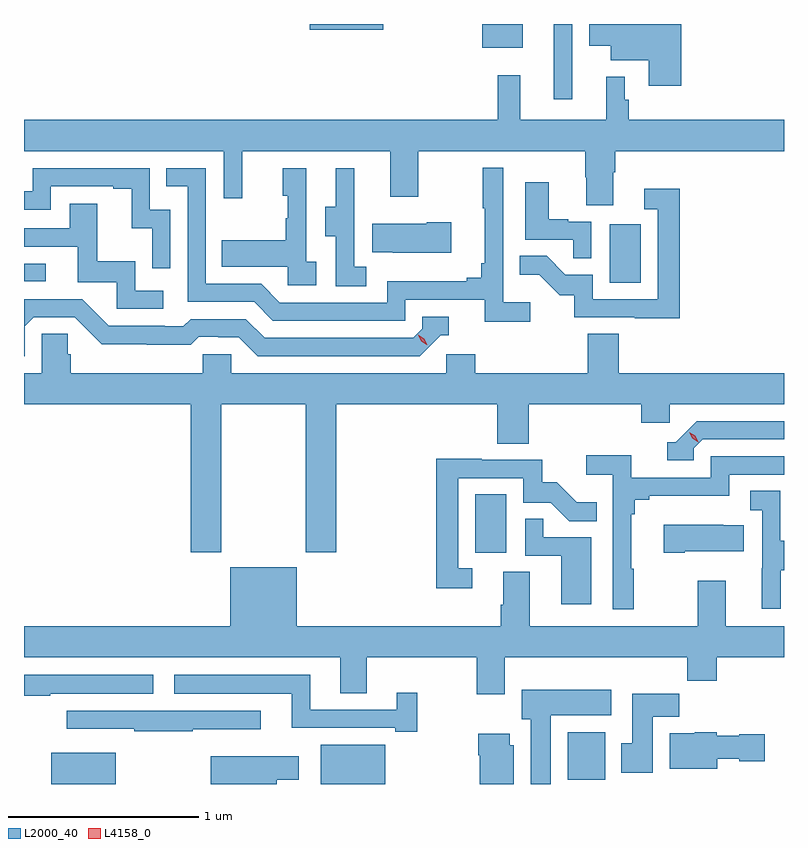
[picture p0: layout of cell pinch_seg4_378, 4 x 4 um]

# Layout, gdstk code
import gdstk
lib = gdstk.Library(unit=1e-6, precision=1e-09)
def R(c, l, rs):  # rectangles x0, y0, x1, y1
    for r in rs: c.add(gdstk.rectangle(r[:2], r[2:], *l))
def P(c, l, *ps):  # polygons
    for p in ps: c.add(gdstk.Polygon(p, *l))
L2000_40 = (2000, 40)
L4158_0 = (4158, 0)

pinch_seg4_378 = lib.new_cell('pinch_seg4_378')
R(pinch_seg4_378, L2000_40, [(999.362,776.173,999.703,776.338), (1000.781,776.173,1001.119,776.38), (1002.081,776.196,1002.277,776.446), (1001.594,777.39,1001.758,777.697), (1002.302,778.812,1002.466,779.119), (999.219,778.818,999.334,778.911), (1002.008,779.778,1002.105,780.173), (1001.63,780.047,1001.845,780.173), (1000.722,780.142,1001.11,780.173)])
P(pinch_seg4_378, L2000_40, [(1002.677,780.173),(1002.194,780.173),(1002.194,780.059),(1002.308,780.059),(1002.308,779.981),(1002.506,779.981),(1002.506,779.847),(1002.677,779.847)],
  [(1002.319,779.392),(1002.332,779.392),(1002.332,779.504),(1003.219,779.504),(1003.219,779.668),(1002.401,779.668),(1002.401,779.775),(1002.381,779.775),(1002.381,779.896),(1002.284,779.896),(1002.284,779.668),(1001.831,779.668),(1001.831,779.902),(1001.713,779.902),(1001.713,779.668),(999.219,779.668),(999.219,779.504),(1000.269,779.504),(1000.269,779.256),(1000.367,779.256),(1000.367,779.504),(1001.147,779.504),(1001.147,779.265),(1001.295,779.265),(1001.295,779.504),(1002.172,779.504),(1002.172,779.367),(1002.179,779.367),(1002.179,779.218),(1002.319,779.218)],
  [(1001.884,778.708),(1001.742,778.708),(1001.742,779.416),(1001.634,779.416),(1001.634,779.203),(1001.645,779.203),(1001.645,778.915),(1001.626,778.915),(1001.626,778.838),(1001.549,778.838),(1001.549,778.819),(1001.13,778.819),(1001.13,778.707),(1000.566,778.707),(1000.467,778.806),(1000.176,778.806),(1000.176,779.415),(999.967,779.415),(999.967,779.319),(1000.08,779.319),(1000.08,778.71),(1000.43,778.71),(1000.529,778.611),(1001.226,778.611),(1001.226,778.722),(1001.645,778.722),(1001.645,778.606),(1001.884,778.606)],
  [(999.99,779.196),(999.882,779.196),(999.882,779.415),(999.264,779.415),(999.264,779.292),(999.219,779.292),(999.219,779.196),(999.36,779.196),(999.36,779.319),(999.689,779.319),(999.689,779.307),(999.785,779.307),(999.785,779.099),(999.894,779.099),(999.894,778.887),(999.99,778.887)],
  [(1000.756,778.922),(1000.704,778.922),(1000.704,779.413),(1000.58,779.413),(1000.58,779.268),(1000.606,779.268),(1000.606,779.15),(1000.596,779.15),(1000.596,779.035),(1000.261,779.035),(1000.261,778.895),(1000.608,778.895),(1000.608,778.797),(1000.756,778.797)],
  [(1001.02,778.895),(1000.956,778.895),(1000.956,779.199),(1000.958,779.199),(1000.958,779.413),(1000.859,779.413),(1000.859,779.211),(1000.805,779.211),(1000.805,779.056),(1000.86,779.056),(1000.86,778.792),(1001.02,778.792)],
  [(1002.204,779.133),(1002.083,779.133),(1002.083,779.146),(1001.98,779.146),(1001.98,779.341),(1001.858,779.341),(1001.858,779.037),(1002.109,779.037),(1002.109,778.939),(1002.204,778.939)],
  [(1002.671,779.305),(1002.483,779.305),(1002.483,779.199),(1002.555,779.199),(1002.555,778.725),(1002.213,778.725),(1002.213,778.854),(1002.068,778.854),(1001.97,778.952),(1001.827,778.952),(1001.827,778.853),(1001.931,778.853),(1002.038,778.746),(1002.115,778.746),(1002.115,778.629),(1002.433,778.629),(1002.433,778.624),(1002.671,778.624)],
  [(999.952,778.77),(999.804,778.77),(999.804,778.924),(999.605,778.924),(999.605,779.227),(999.461,779.227),(999.461,779.097),(999.219,779.097),(999.219,779.001),(999.503,779.001),(999.503,778.815),(999.708,778.815),(999.708,778.674),(999.952,778.674)],
  [(1001.467,779.13),(1001.339,779.13),(1001.339,779.122),(1001.053,779.122),(1001.053,778.973),(1001.161,778.973),(1001.161,778.97),(1001.467,778.97)],
  [(999.222,778.581),(999.27,778.629),(999.486,778.629),(999.628,778.487),(999.864,778.487),(999.864,778.485),(1000.097,778.485),(1000.139,778.527),(1000.242,778.527),(1000.242,778.524),(1000.349,778.524),(1000.448,778.425),(1001.301,778.425),(1001.412,778.536),(1001.455,778.536),(1001.455,778.632),(1001.316,778.632),(1001.316,778.569),(1001.268,778.521),(1000.485,778.521),(1000.386,778.62),(1000.097,778.62),(1000.058,778.581),(999.959,778.581),(999.959,778.584),(999.666,778.584),(999.525,778.725),(999.219,778.725),(999.219,778.425),(999.222,778.425)],
  [(1000.257,778.172),(1000.702,778.172),(1000.702,777.393),(1000.862,777.393),(1000.862,778.172),(1001.711,778.172),(1001.711,777.964),(1001.876,777.964),(1001.876,778.172),(1002.467,778.172),(1002.467,778.074),(1002.618,778.074),(1002.618,778.172),(1003.219,778.172),(1003.219,778.336),(1002.35,778.336),(1002.35,778.544),(1002.185,778.544),(1002.185,778.336),(1001.594,778.336),(1001.594,778.434),(1001.442,778.434),(1001.442,778.336),(1000.311,778.336),(1000.311,778.434),(1000.161,778.434),(1000.161,778.336),(999.464,778.336),(999.464,778.434),(999.449,778.434),(999.449,778.544),(999.312,778.544),(999.312,778.336),(999.219,778.336),(999.219,778.172),(1000.097,778.172),(1000.097,777.393),(1000.257,777.393)],
  [(1002.744,777.939),(1002.792,777.987),(1003.219,777.987),(1003.219,778.083),(1002.759,778.083),(1002.648,777.972),(1002.605,777.972),(1002.605,777.876),(1002.744,777.876)],
  [(1002.427,777.305),(1002.415,777.305),(1002.415,777.593),(1002.434,777.593),(1002.434,777.67),(1002.511,777.67),(1002.511,777.689),(1002.93,777.689),(1002.93,777.801),(1003.219,777.801),(1003.219,777.897),(1002.834,777.897),(1002.834,777.786),(1002.416,777.786),(1002.416,777.902),(1002.177,777.902),(1002.177,777.8),(1002.318,777.8),(1002.318,777.093),(1002.427,777.093)],
  [(1001.578,777.309),(1001.505,777.309),(1001.505,777.783),(1001.847,777.783),(1001.847,777.654),(1001.991,777.654),(1002.089,777.556),(1002.233,777.556),(1002.233,777.655),(1002.129,777.655),(1002.022,777.762),(1001.946,777.762),(1001.946,777.879),(1001.627,777.879),(1001.627,777.884),(1001.389,777.884),(1001.389,777.204),(1001.578,777.204)],
  [(1003.201,777.298),(1003.219,777.298),(1003.219,777.453),(1003.2,777.453),(1003.2,777.716),(1003.041,777.716),(1003.041,777.613),(1003.104,777.613),(1003.104,777.309),(1003.103,777.309),(1003.103,777.096),(1003.201,777.096)],
  [(1002.205,777.471),(1001.951,777.471),(1001.951,777.569),(1001.856,777.569),(1001.856,777.375),(1002.047,777.375),(1002.047,777.12),(1002.205,777.12)],
  [(1002.697,777.398),(1003.007,777.398),(1003.007,777.535),(1002.899,777.535),(1002.899,777.538),(1002.585,777.538),(1002.585,777.391),(1002.697,777.391)],
  [(1001.749,776.84),(1002.709,776.84),(1002.709,776.716),(1002.866,776.716),(1002.866,776.84),(1003.219,776.84),(1003.219,777.004),(1002.913,777.004),(1002.913,777.244),(1002.766,777.244),(1002.766,777.004),(1001.881,777.004),(1001.881,777.29),(1001.741,777.29),(1001.741,777.116),(1001.729,777.116),(1001.729,777.004),(1000.654,777.004),(1000.654,777.313),(1000.304,777.313),(1000.304,777.004),(999.219,777.004),(999.219,776.84),(1000.883,776.84),(1000.883,776.65),(1001.023,776.65),(1001.023,776.84),(1001.602,776.84),(1001.602,776.646),(1001.749,776.646)],
  [(999.356,776.648),(999.898,776.648),(999.898,776.749),(999.219,776.749),(999.219,776.638),(999.356,776.638)],
  [(1001.29,776.653),(1001.18,776.653),(1001.18,776.565),(1000.726,776.565),(1000.726,776.749),(1000.011,776.749),(1000.011,776.648),(1000.628,776.648),(1000.628,776.469),(1001.174,776.469),(1001.174,776.449),(1001.29,776.449)],
  [(1001.992,776.534),(1002.31,776.534),(1002.31,776.668),(1001.84,776.668),(1001.84,776.514),(1001.885,776.514),(1001.885,776.173),(1001.992,776.173)],
  [(1002.529,776.528),(1002.668,776.528),(1002.668,776.647),(1002.419,776.647),(1002.419,776.388),(1002.362,776.388),(1002.362,776.232),(1002.529,776.232)],
  [(1000.106,776.462),(1000.465,776.462),(1000.465,776.559),(999.444,776.559),(999.444,776.463),(999.799,776.463),(999.799,776.451),(1000.106,776.451)],
  [(1002.868,776.306),(1002.984,776.306),(1002.984,776.294),(1003.117,776.294),(1003.117,776.436),(1002.984,776.436),(1002.984,776.428),(1002.864,776.428),(1002.864,776.446),(1002.75,776.446),(1002.75,776.44),(1002.617,776.44),(1002.617,776.252),(1002.868,776.252)],
  [(1001.797,776.376),(1001.776,776.376),(1001.776,776.437),(1001.611,776.437),(1001.611,776.324),(1001.618,776.324),(1001.618,776.173),(1001.797,776.173)],
  [(1000.549,776.195),(1000.666,776.195),(1000.666,776.32),(1000.202,776.32),(1000.202,776.173),(1000.549,776.173)])
P(pinch_seg4_378, L4158_0, [(1001.34,778.484),(1001.31,778.504),(1001.294,778.537),(1001.294,778.537),(1001.294,778.537),(1001.325,778.517),(1001.341,778.484),(1001.341,778.484)],
  [(1002.768,777.973),(1002.737,777.992),(1002.72,778.025),(1002.72,778.025),(1002.721,778.025),(1002.752,778.006),(1002.768,777.973),(1002.768,777.973)])

lib.write_gds('pinch_seg4_378.gds')
